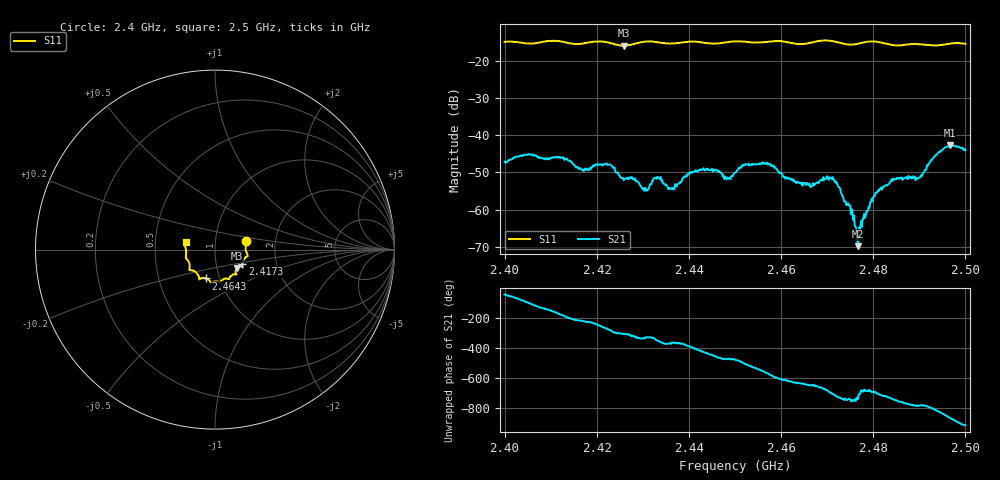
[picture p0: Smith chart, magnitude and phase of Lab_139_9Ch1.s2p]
# Hz S RI R
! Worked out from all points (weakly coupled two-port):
!   601 points, 2.4 GHz to 2.5 GHz, reference 50 ohm
!   highest |S21| = -42.73 dB at 2.4967 GHz (marker M1); lowest = -69.8 dB at 2.4767 GHz (marker M2)
!   lowest |S11| = -15.9 dB at 2.4258 GHz (marker M3), VSWR 1.38, Z = 62.3 - j13.3 ohm
!   |S11| at or under -10 dB: start of sweep to end of sweep
!   S12 and S22 are empty: the file has one direction only
!   S11 on the Smith chart (normalised r, x): 2.4 GHz: 1.41, +0.14; 2.4173 GHz: 1.34, -0.23; 2.4643 GHz: 0.86, -0.28; 2.5 GHz: 0.72, +0.06
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2.4e9  0.1735 0.049  0.00303 -0.00318  0 0  0 0
2.405667e9  0.1706 0.00545  -0.00172 -0.00522  0 0  0 0
2.416667e9  0.1528 -0.0745  -0.00266 0.00219  0 0  0 0
2.417333e9  0.152 -0.0819  -0.0024 0.00248  0 0  0 0
2.4225e9  0.1489 -0.0945  0.000683 0.00395  0 0  0 0
2.425833e9  0.1216 -0.1038  0.00152 0.00196  0 0  0 0
2.430667e9  0.1184 -0.1382  0.00166 0.000914  0 0  0 0
2.433333e9  0.1127 -0.1372  0.00267 0.000183  0 0  0 0
2.436333e9  0.0917 -0.1447  0.00186 -0.000188  0 0  0 0
2.442667e9  0.0713 -0.1627  0.00136 -0.00312  0 0  0 0
2.45e9  0.0291 -0.181  -0.00158 -0.00271  0 0  0 0
2.4565e9  -0.0107 -0.1791  -0.00378 0.00168  0 0  0 0
2.464333e9  -0.0498 -0.1607  0.000381 0.00218  0 0  0 0
2.466667e9  -0.076 -0.1594  0.000646 0.00195  0 0  0 0
2.471667e9  -0.0878 -0.1589  0.00237 0.000147  0 0  0 0
2.475e9  -0.1064 -0.1263  0.000995 -0.000521  0 0  0 0
2.476667e9  -0.1231 -0.1169  0.000292 -0.000135  0 0  0 0
2.480167e9  -0.1433 -0.1129  0.00136 0.000683  0 0  0 0
2.483333e9  -0.1409 -0.0897  0.00216 -0.000466  0 0  0 0
2.49e9  -0.163 -0.0407  0.00104 -0.00247  0 0  0 0
2.496667e9  -0.1691 0.0246  -0.00629 -0.0037  0 0  0 0
2.5e9  -0.164 0.0424  -0.006 0.00209  0 0  0 0
